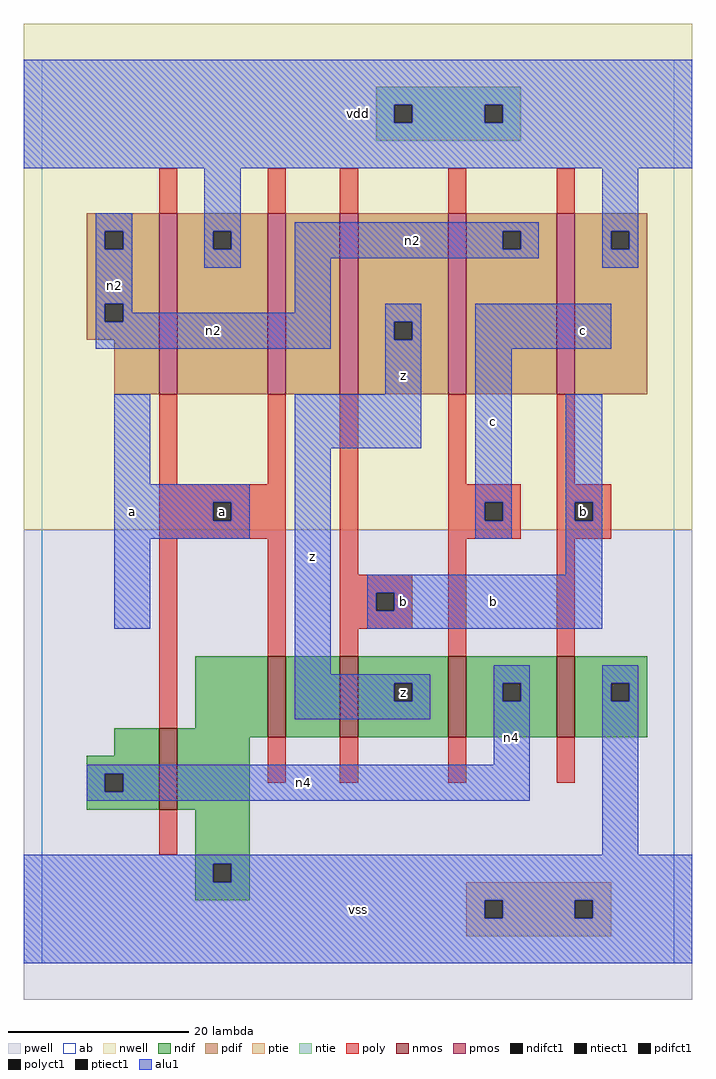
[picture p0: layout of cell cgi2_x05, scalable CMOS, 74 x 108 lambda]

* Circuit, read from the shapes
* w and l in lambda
.subckt cgi2_x05 a b c n2 n4 vdd vss z
M1 vss a n4 vss nfet w=9 l=2
M2 n1 a vss vss nfet w=9 l=2
M3 z b n1 vss nfet w=9 l=2
M4 n4 c z vss nfet w=9 l=2
M5 vss b n4 vss nfet w=9 l=2
M6 vdd a n2 vdd pfet w=20 l=2
M7 n3 a vdd vdd pfet w=20 l=2
M8 z b n3 vdd pfet w=20 l=2
M9 n2 c z vdd pfet w=20 l=2
M10 vdd b n2 vdd pfet w=20 l=2
.ends

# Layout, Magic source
magic
tech scmos
<< ab >>
rect 0 0 70 100
<< nwell >>
rect -2 48 72 104
<< pwell >>
rect -2 -4 72 48
<< poly >>
rect 13 83 15 88
rect 25 83 27 88
rect 33 83 35 88
rect 45 83 47 88
rect 57 83 59 88
rect 13 53 15 63
rect 25 53 27 63
rect 13 51 27 53
rect 13 49 19 51
rect 21 49 27 51
rect 13 47 27 49
rect 13 26 15 47
rect 25 34 27 47
rect 33 43 35 63
rect 45 53 47 63
rect 57 53 59 63
rect 45 51 53 53
rect 45 49 49 51
rect 51 49 53 51
rect 45 47 53 49
rect 57 51 63 53
rect 57 49 59 51
rect 61 49 63 51
rect 57 47 63 49
rect 33 41 41 43
rect 33 39 37 41
rect 39 39 41 41
rect 33 37 41 39
rect 33 34 35 37
rect 45 34 47 47
rect 57 34 59 47
rect 25 20 27 25
rect 33 20 35 25
rect 45 20 47 25
rect 57 20 59 25
rect 13 12 15 17
<< ndif >>
rect 17 26 25 34
rect 8 23 13 26
rect 5 21 13 23
rect 5 19 7 21
rect 9 19 13 21
rect 5 17 13 19
rect 15 25 25 26
rect 27 25 33 34
rect 35 31 45 34
rect 35 29 39 31
rect 41 29 45 31
rect 35 25 45 29
rect 47 31 57 34
rect 47 29 51 31
rect 53 29 57 31
rect 47 25 57 29
rect 59 31 67 34
rect 59 29 63 31
rect 65 29 67 31
rect 59 25 67 29
rect 15 17 23 25
rect 17 11 23 17
rect 17 9 19 11
rect 21 9 23 11
rect 17 7 23 9
<< pdif >>
rect 5 81 13 83
rect 5 79 7 81
rect 9 79 13 81
rect 5 73 13 79
rect 5 71 7 73
rect 9 71 13 73
rect 5 69 13 71
rect 8 63 13 69
rect 15 81 25 83
rect 15 79 19 81
rect 21 79 25 81
rect 15 63 25 79
rect 27 63 33 83
rect 35 71 45 83
rect 35 69 39 71
rect 41 69 45 71
rect 35 63 45 69
rect 47 81 57 83
rect 47 79 51 81
rect 53 79 57 81
rect 47 63 57 79
rect 59 81 67 83
rect 59 79 63 81
rect 65 79 67 81
rect 59 63 67 79
<< alu1 >>
rect -2 95 72 100
rect -2 93 39 95
rect 41 93 49 95
rect 51 93 72 95
rect -2 88 72 93
rect 6 81 10 83
rect 6 79 7 81
rect 9 79 10 81
rect 6 73 10 79
rect 18 81 22 88
rect 18 79 19 81
rect 21 79 22 81
rect 18 77 22 79
rect 28 81 55 82
rect 28 79 51 81
rect 53 79 55 81
rect 28 78 55 79
rect 62 81 66 88
rect 62 79 63 81
rect 65 79 66 81
rect 6 71 7 73
rect 9 72 10 73
rect 28 72 32 78
rect 62 77 66 79
rect 9 71 32 72
rect 6 68 32 71
rect 38 71 42 73
rect 38 69 39 71
rect 41 69 42 71
rect 38 63 42 69
rect 8 53 12 63
rect 28 57 42 63
rect 48 68 63 73
rect 8 51 23 53
rect 8 49 19 51
rect 21 49 23 51
rect 8 47 23 49
rect 8 37 12 47
rect 28 32 32 57
rect 48 51 52 68
rect 48 49 49 51
rect 51 49 52 51
rect 48 47 52 49
rect 58 51 62 63
rect 58 49 59 51
rect 61 49 62 51
rect 58 43 62 49
rect 36 41 62 43
rect 36 39 37 41
rect 39 39 62 41
rect 36 37 62 39
rect 28 31 43 32
rect 28 29 39 31
rect 41 29 43 31
rect 28 27 43 29
rect 50 31 54 33
rect 50 29 51 31
rect 53 29 54 31
rect 50 22 54 29
rect 5 21 54 22
rect 5 19 7 21
rect 9 19 54 21
rect 5 18 54 19
rect 62 31 66 33
rect 62 29 63 31
rect 65 29 66 31
rect 62 12 66 29
rect -2 11 72 12
rect -2 9 19 11
rect 21 9 72 11
rect -2 7 72 9
rect -2 5 49 7
rect 51 5 59 7
rect 61 5 72 7
rect -2 0 72 5
<< ptie >>
rect 47 7 63 9
rect 47 5 49 7
rect 51 5 59 7
rect 61 5 63 7
rect 47 3 63 5
<< ntie >>
rect 37 95 53 97
rect 37 93 39 95
rect 41 93 49 95
rect 51 93 53 95
rect 37 91 53 93
<< nmos >>
rect 13 17 15 26
rect 25 25 27 34
rect 33 25 35 34
rect 45 25 47 34
rect 57 25 59 34
<< pmos >>
rect 13 63 15 83
rect 25 63 27 83
rect 33 63 35 83
rect 45 63 47 83
rect 57 63 59 83
<< polyct1 >>
rect 19 49 21 51
rect 49 49 51 51
rect 59 49 61 51
rect 37 39 39 41
<< ndifct1 >>
rect 7 19 9 21
rect 39 29 41 31
rect 51 29 53 31
rect 63 29 65 31
rect 19 9 21 11
<< ntiect1 >>
rect 39 93 41 95
rect 49 93 51 95
<< ptiect1 >>
rect 49 5 51 7
rect 59 5 61 7
<< pdifct1 >>
rect 7 79 9 81
rect 7 71 9 73
rect 19 79 21 81
rect 39 69 41 71
rect 51 79 53 81
rect 63 79 65 81
<< labels >>
rlabel alu1 8 75 8 75 6 n2
rlabel alu1 10 50 10 50 6 a
rlabel polyct1 20 50 20 50 6 a
rlabel alu1 35 6 35 6 6 vss
rlabel alu1 30 45 30 45 6 z
rlabel alu1 19 70 19 70 6 n2
rlabel alu1 35 94 35 94 6 vdd
rlabel alu1 52 25 52 25 6 n4
rlabel alu1 29 20 29 20 6 n4
rlabel ndifct1 40 30 40 30 6 z
rlabel alu1 50 40 50 40 6 b
rlabel alu1 40 40 40 40 6 b
rlabel alu1 50 60 50 60 6 c
rlabel alu1 40 65 40 65 6 z
rlabel alu1 41 80 41 80 6 n2
rlabel polyct1 60 50 60 50 6 b
rlabel alu1 60 70 60 70 6 c
<< end >>
